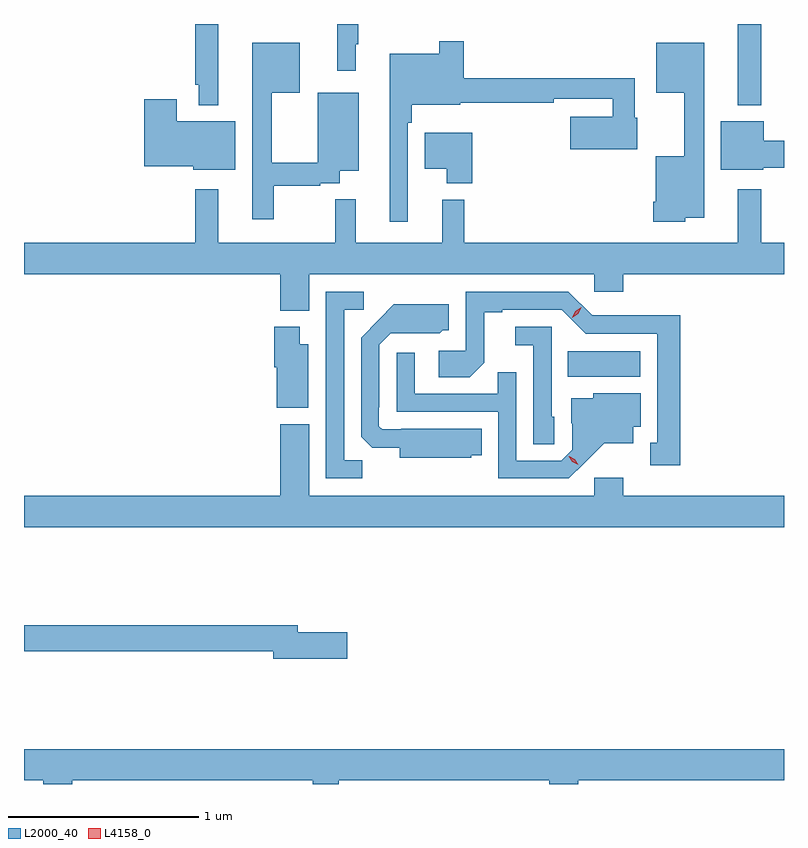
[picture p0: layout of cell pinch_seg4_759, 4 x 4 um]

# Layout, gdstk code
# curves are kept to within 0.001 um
import gdstk
lib = gdstk.Library(unit=1e-6, precision=1e-09)
def R(c, l, rs):  # rectangles x0, y0, x1, y1
    for r in rs: c.add(gdstk.rectangle(r[:2], r[2:], *l))
def P(c, l, *ps):  # polygons
    for p in ps: c.add(gdstk.Polygon(p, *l))
L2000_40 = (2000, 40)
L4158_0 = (4158, 0)

pinch_seg4_759 = lib.new_cell('pinch_seg4_759')
R(pinch_seg4_759, L2000_40, [(783.61,818.924,783.991,819.058), (784.505,820.352,784.627,820.78)])
P(pinch_seg4_759, L2000_40, [(781.771,820.78),(781.65,820.78),(781.65,820.459),(781.667,820.459),(781.667,820.352),(781.771,820.352)],
  [(782.494,820.673),(782.506,820.673),(782.506,820.78),(782.396,820.78),(782.396,820.533),(782.494,820.533)],
  [(782.769,820.259),(782.789,820.259),(782.789,820.355),(783.043,820.355),(783.043,820.366),(783.536,820.366),(783.536,820.386),(783.847,820.386),(783.847,820.291),(783.624,820.291),(783.624,820.121),(783.976,820.121),(783.976,820.287),(783.963,820.287),(783.963,820.495),(783.062,820.495),(783.062,820.69),(782.934,820.69),(782.934,820.624),(782.672,820.624),(782.672,819.738),(782.769,819.738)],
  [(784.227,819.761),(784.327,819.761),(784.327,820.681),(784.076,820.681),(784.076,820.418),(784.223,820.418),(784.223,820.084),(784.073,820.084),(784.073,819.844),(784.061,819.844),(784.061,819.74),(784.227,819.74)],
  [(782.063,819.93),(782.306,819.93),(782.306,819.942),(782.41,819.942),(782.41,820.007),(782.509,820.007),(782.509,820.417),(782.294,820.417),(782.294,820.051),(782.053,820.051),(782.053,820.418),(782.2,820.418),(782.2,820.681),(781.949,820.681),(781.949,819.753),(782.063,819.753)],
  [(781.861,820.267),(781.552,820.267),(781.552,820.384),(781.382,820.384),(781.382,820.031),(781.638,820.031),(781.638,820.013),(781.861,820.013)],
  [(784.638,820.024),(784.748,820.024),(784.748,820.166),(784.642,820.166),(784.642,820.267),(784.415,820.267),(784.415,820.013),(784.638,820.013)],
  [(783.107,820.207),(782.858,820.207),(782.858,820.019),(782.972,820.019),(782.972,819.941),(783.107,819.941)],
  [(782.248,819.464),(783.75,819.464),(783.75,819.371),(783.902,819.371),(783.902,819.464),(784.748,819.464),(784.748,819.628),(784.627,819.628),(784.627,819.91),(784.505,819.91),(784.505,819.628),(783.065,819.628),(783.065,819.856),(782.948,819.856),(782.948,819.628),(782.495,819.628),(782.495,819.857),(782.385,819.857),(782.385,819.628),(781.771,819.628),(781.771,819.91),(781.65,819.91),(781.65,819.628),(780.748,819.628),(780.748,819.464),(782.096,819.464),(782.096,819.272),(782.248,819.272)],
  [(784.201,819.248),(783.96,819.248),(783.96,819.246),(783.738,819.246),(783.612,819.372),(783.072,819.372),(783.072,819.06),(782.931,819.06),(782.931,818.92),(783.095,818.92),(783.171,818.996),(783.171,819.264),(783.265,819.264),(783.265,819.276),(783.579,819.276),(783.705,819.15),(784.082,819.15),(784.082,818.577),(784.043,818.577),(784.043,818.457),(784.201,818.457)],
  [(782.529,818.483),(782.433,818.483),(782.433,819.276),(782.536,819.276),(782.536,819.372),(782.337,819.372),(782.337,818.388),(782.529,818.388)],
  [(783.102,818.51),(783.158,818.51),(783.158,818.65),(782.734,818.65),(782.734,818.646),(782.634,818.646),(782.616,818.664),(782.616,818.764),(782.619,818.764),(782.619,819.093),(782.679,819.153),(782.936,819.152),(782.952,819.168),(782.983,819.168),(782.983,819.304),(782.695,819.304),(782.523,819.13),(782.523,818.608),(782.582,818.549),(782.726,818.549),(782.726,818.498),(783.102,818.498)],
  [(782.245,819.094),(782.2,819.094),(782.2,819.187),(782.066,819.187),(782.066,818.973),(782.078,818.973),(782.078,818.759),(782.245,818.759)],
  [(783.54,818.712),(783.525,818.712),(783.525,819.186),(783.333,819.186),(783.333,819.089),(783.429,819.089),(783.429,818.569),(783.54,818.569)],
  [(783.7,818.471),(783.803,818.573),(783.955,818.573),(783.955,818.66),(783.994,818.66),(783.994,818.836),(783.744,818.836),(783.744,818.809),(783.629,818.809),(783.629,818.68),(783.633,818.68),(783.633,818.538),(783.576,818.481),(783.339,818.481),(783.339,818.948),(783.241,818.948),(783.241,818.835),(782.805,818.835),(782.805,819.049),(782.709,819.049),(782.709,818.739),(783.243,818.739),(783.243,818.388),(783.616,818.388)],
  [(784.748,818.296),(783.902,818.296),(783.902,818.392),(783.75,818.392),(783.75,818.296),(782.248,818.296),(782.248,818.674),(782.096,818.674),(782.096,818.296),(780.748,818.296),(780.748,818.132),(784.748,818.132)],
  [(782.449,817.58),(782.188,817.58),(782.188,817.616),(780.748,817.616),(780.748,817.48),(782.06,817.48),(782.06,817.438),(782.449,817.438)],
  [(781.001,816.8),(782.269,816.8),(782.269,816.78),(782.405,816.78),(782.405,816.8),(783.512,816.8),(783.512,816.78),(783.665,816.78),(783.665,816.8),(784.748,816.8),(784.748,816.964),(780.748,816.964),(780.748,816.8),(780.848,816.8),(780.848,816.78),(781.001,816.78)])
P(pinch_seg4_759, L4158_0, [(783.633,819.235),(783.633,819.236),(783.65,819.268),(783.681,819.288),(783.682,819.288),(783.682,819.287),(783.665,819.255),(783.634,819.235)],
  [(783.664,818.46),(783.634,818.475),(783.616,818.504),(783.616,818.505),(783.617,818.505),(783.647,818.49),(783.665,818.461),(783.665,818.46)])

lib.write_gds('pinch_seg4_759.gds')
